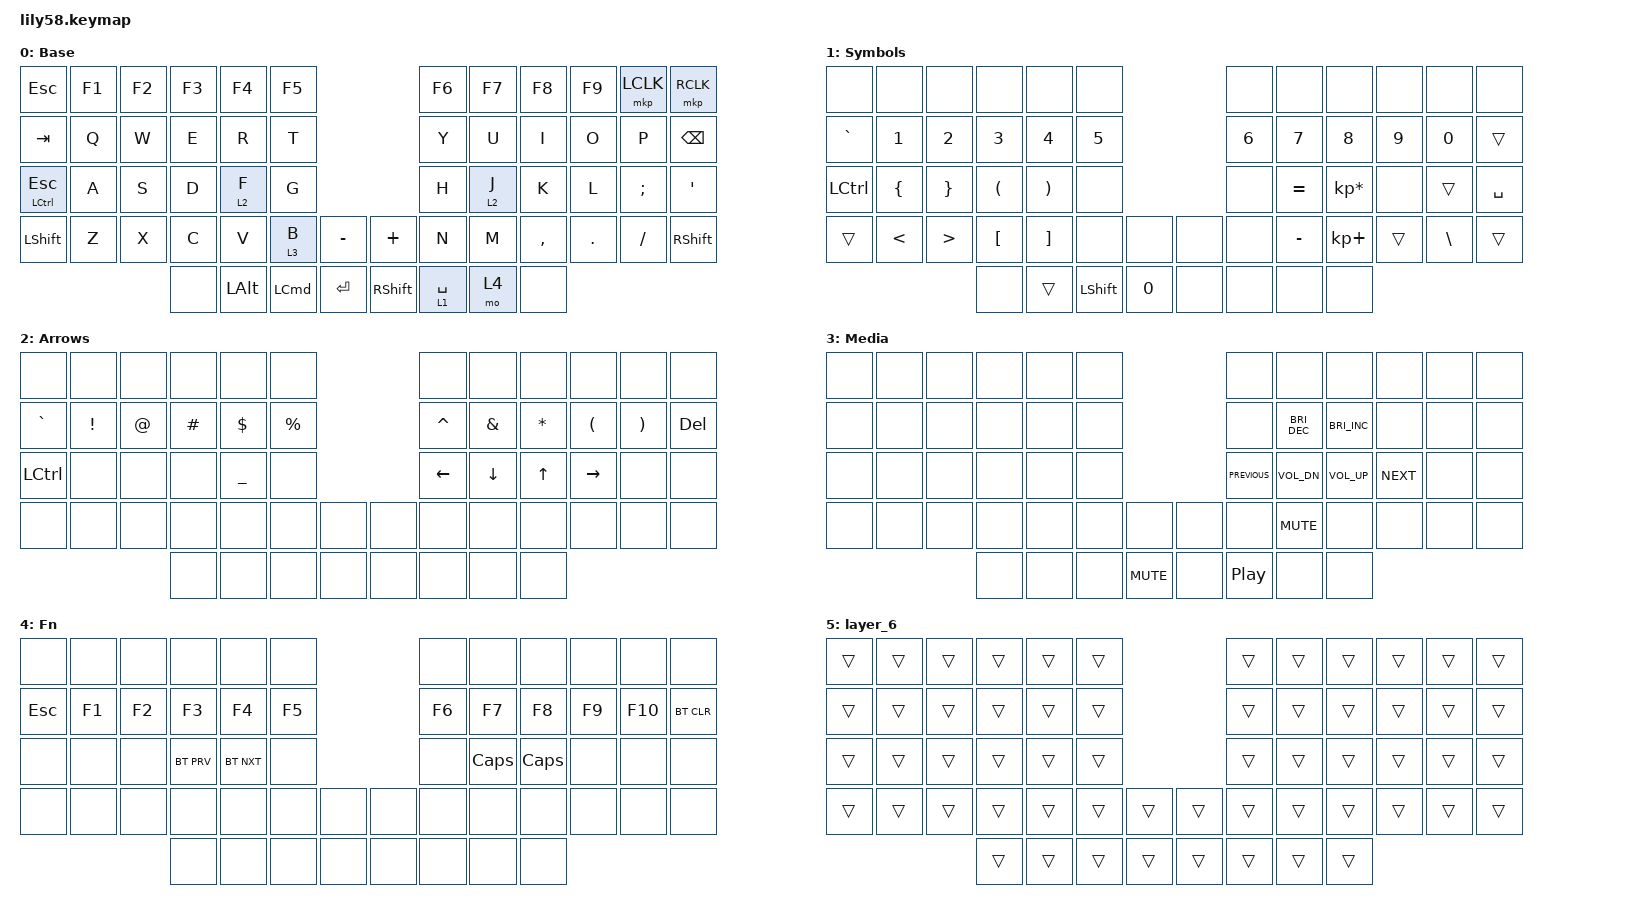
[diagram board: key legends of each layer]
/*
 * Copyright (c) 2020 The ZMK Contributors
 *
 * SPDX-License-Identifier: MIT
 */

#include <behaviors.dtsi>
#include <dt-bindings/zmk/bt.h>
#include <dt-bindings/zmk/keys.h>
#include <dt-bindings/zmk/pointing.h>

/ {
    combos { compatible = "zmk,combos"; };

    keymap {
        compatible = "zmk,keymap";

        base {
            // ------------------------------------------------------------------------------------------------------------
            // |  ESC  |  1  |  2  |  3   |  4   |  5   |                   |  6   |  7    |  8    |  9   |   0   |   `   |
            // |  TAB  |  Q  |  W  |  E   |  R   |  T   |                   |  Y   |  U    |  I    |  O   |   P   |   -   |
            // |  CTRL |  A  |  S  |  D   |  F   |  G   |                   |  H   |  J    |  K    |  L   |   ;   |   '   |
            // | SHIFT |  Z  |  X  |  C   |  V   |  B   |   "["  |  |  "]"  |  N   |  M    |  ,    |  .   |   /   | SHIFT |
            //                     | ALT  | GUI  | LOWER|  SPACE |  | ENTER | RAISE| BSPC  | GUI   |

            bindings = <
&kp ESC           &kp F1  &kp F2  &kp F3  &kp F4        &kp F5                                          &kp F6       &kp F7   &kp F8     &kp F9   &mkp LCLK  &mkp RCLK
&kp TAB           &kp Q   &kp W   &kp E   &kp R         &kp T                                           &kp Y        &kp U    &kp I      &kp O    &kp P      &kp BACKSPACE
&mt LCTRL ESCAPE  &kp A   &kp S   &kp D   &lt 2 F       &kp G                                           &kp H        &lt 2 J  &kp K      &kp L    &kp SEMI   &kp SQT
&kp LSHFT         &kp Z   &kp X   &kp C   &kp V         &lt 3 B           &kp MINUS    &kp PLUS         &kp N        &kp M    &kp COMMA  &kp DOT  &kp FSLH   &kp RIGHT_SHIFT
                                  &none   &kp LEFT_ALT  &kp LEFT_COMMAND  &kp ENTER    &kp RIGHT_SHIFT  &lt 1 SPACE  &mo 4    &none
            >;

            label = "Base";
        };

        symbols {
            // ------------------------------------------------------------------------------------------------------------
            // | BTCLR | BT1 | BT2 |  BT3 |  BT4 |  BT5 |                   |      |       |       |      |       |       |
            // |  F1   |  F2 |  F3 |  F4  |  F5  |  F6  |                   |  F7  |  F8   |  F9   |  F10 |  F11  |  F12  |
            // |   `   |  !  |  @  |  #   |  $   |  %   |                   |  ^   |  &    |  *    |  (   |   )   |   ~   |
            // |       |     |     |      |      |      |        |  |       |      |  _    |  +    |  {   |   }   |  "|"  |
            //                     |      |      |      |        |  |       |      |       |       |

            bindings = <
&none      &none           &none             &none                 &none                  &none                            &none         &none      &none            &none   &none          &none
&kp GRAVE  &kp NUMBER_1    &kp NUMBER_2      &kp NUMBER_3          &kp NUMBER_4           &kp N5                           &kp NUMBER_6  &kp N7     &kp N8           &kp N9  &kp N0         &trans
&kp LCTRL  &kp LEFT_BRACE  &kp RIGHT_BRACE   &kp LEFT_PARENTHESIS  &kp RIGHT_PARENTHESIS  &none                            &none         &kp EQUAL  &kp KP_MULTIPLY  &none   &trans         &kp SPACE
&trans     &kp LESS_THAN   &kp GREATER_THAN  &kp LEFT_BRACKET      &kp RIGHT_BRACKET      &none           &none     &none  &none         &kp MINUS  &kp KP_PLUS      &trans  &kp BACKSLASH  &trans
                                             &none                 &trans                 &kp LEFT_SHIFT  &kp N0    &none  &none         &none      &none
            >;

            label = "Symbols";
        };

        arrows {
            // ------------------------------------------------------------------------------------------------------------
            // |       |     |     |      |      |      |                   |      |       |       |      |       |       |
            // |   `   |  1  |  2  |  3   |  4   |  5   |                   |  6   |   7   |   8   |  9   |   0   |       |
            // |   F1  |  F2 |  F3 |  F4  |  F5  |  F6  |                   |      |   <-  |   v   |  ^   |  ->   |       |
            // |   F7  |  F8 |  F9 |  F10 |  F11 |  F12 |        |  |       |  +   |   -   |   =   |  [   |   ]   |   \   |
            //                     |      |      |      |        |  |       |      |       |       |

            bindings = <
&none      &none            &none   &none      &none           &none                        &none      &none           &none         &none                 &none                  &none
&kp GRAVE  &kp EXCLAMATION  &kp AT  &kp POUND  &kp DOLLAR      &kp PERCENT                  &kp CARET  &kp AMPERSAND   &kp ASTERISK  &kp LEFT_PARENTHESIS  &kp RIGHT_PARENTHESIS  &kp DELETE
&kp LCTRL  &none            &none   &none      &kp UNDERSCORE  &none                        &kp LEFT   &kp DOWN_ARROW  &kp UP_ARROW  &kp RIGHT             &none                  &none
&none      &none            &none   &none      &none           &none        &none    &none  &none      &none           &none         &none                 &none                  &none
                                    &none      &none           &none        &none    &none  &none      &none           &none
            >;

            label = "Arrows";
        };

        media {
            bindings = <
&none  &none  &none  &none  &none  &none                       &none             &none                 &none                 &none       &none  &none
&none  &none  &none  &none  &none  &none                       &none             &kp C_BRIGHTNESS_DEC  &kp C_BRIGHTNESS_INC  &none       &none  &none
&none  &none  &none  &none  &none  &none                       &kp C_PREVIOUS    &kp C_VOL_DN          &kp C_VOLUME_UP       &kp C_NEXT  &none  &none
&none  &none  &none  &none  &none  &none  &none         &none  &none             &kp C_MUTE            &none                 &none       &none  &none
                     &none  &none  &none  &kp K_MUTE    &none  &kp C_PLAY_PAUSE  &none                 &none
            >;

            label = "Media";
        };

        function {
            bindings = <
&none    &none   &none   &none       &none       &none                   &none   &none     &none         &none   &none    &none
&kp ESC  &kp F1  &kp F2  &kp F3      &kp F4      &kp F5                  &kp F6  &kp F7    &kp F8        &kp F9  &kp F10  &bt BT_CLR
&none    &none   &none   &bt BT_PRV  &bt BT_NXT  &none                   &none   &kp CAPS  &kp CAPSLOCK  &none   &none    &none
&none    &none   &none   &none       &none       &none   &none    &none  &none   &none     &none         &none   &none    &none
                         &none       &none       &none   &none    &none  &none   &none     &none
            >;

            label = "Fn";
        };

        layer_6 {
            bindings = <
&trans  &trans  &trans  &trans  &trans  &trans                    &trans  &trans  &trans  &trans  &trans  &trans
&trans  &trans  &trans  &trans  &trans  &trans                    &trans  &trans  &trans  &trans  &trans  &trans
&trans  &trans  &trans  &trans  &trans  &trans                    &trans  &trans  &trans  &trans  &trans  &trans
&trans  &trans  &trans  &trans  &trans  &trans  &trans    &trans  &trans  &trans  &trans  &trans  &trans  &trans
                        &trans  &trans  &trans  &trans    &trans  &trans  &trans  &trans
            >;
        };
    };
};
